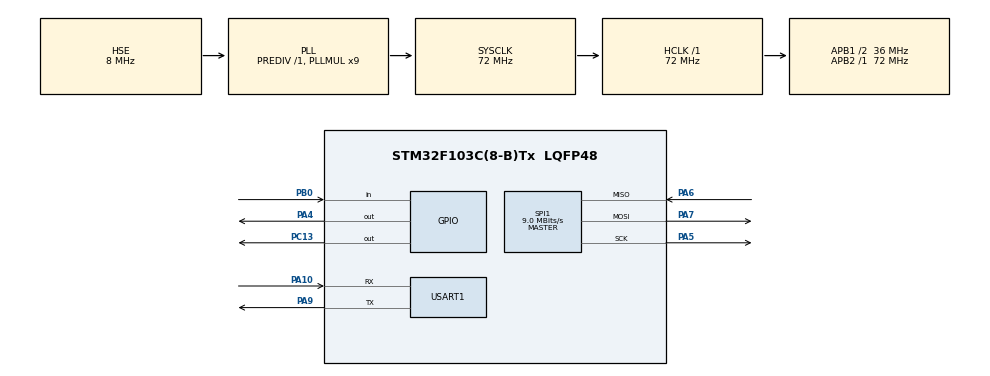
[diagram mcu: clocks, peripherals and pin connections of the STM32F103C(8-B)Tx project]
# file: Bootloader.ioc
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Mcu.Family=STM32F1
Mcu.Name=STM32F103C(8-B)Tx
Mcu.Package=LQFP48
NVIC.PriorityGroup=NVIC_PRIORITYGROUP_4
PA10.Mode=Asynchronous
PA10.Signal=USART1_RX
PA13.Mode=Serial_Wire
PA13.Signal=SYS_JTMS-SWDIO
PA14.Mode=Serial_Wire
PA14.Signal=SYS_JTCK-SWCLK
PA4.PinState=GPIO_PIN_SET
PA4.Signal=GPIO_Output
PA5.Mode=Full_Duplex_Master
PA5.Signal=SPI1_SCK
PA6.Mode=Full_Duplex_Master
PA6.Signal=SPI1_MISO
PA7.Mode=Full_Duplex_Master
PA7.Signal=SPI1_MOSI
PA9.Mode=Asynchronous
PA9.Signal=USART1_TX
PB0.GPIO_PuPd=GPIO_PULLUP
PB0.Signal=GPIO_Input
PC13-TAMPER-RTC.Signal=GPIO_Output
PD0-OSC_IN.Mode=HSE-External-Oscillator
PD0-OSC_IN.Signal=RCC_OSC_IN
PD1-OSC_OUT.Mode=HSE-External-Oscillator
PD1-OSC_OUT.Signal=RCC_OSC_OUT
ProjectManager.HeapSize=0x200
ProjectManager.StackSize=0x400
ProjectManager.TargetToolchain=MDK-ARM V5.32
RCC.AHBFreq_Value=72000000
RCC.APB1CLKDivider=RCC_HCLK_DIV2
RCC.APB1Freq_Value=36000000
RCC.APB1TimFreq_Value=72000000
RCC.APB2Freq_Value=72000000
RCC.APB2TimFreq_Value=72000000
RCC.HCLKFreq_Value=72000000
RCC.PLLMUL=RCC_PLL_MUL9
RCC.PLLSourceVirtual=RCC_PLLSOURCE_HSE
RCC.SYSCLKFreq_VALUE=72000000
RCC.SYSCLKSource=RCC_SYSCLKSOURCE_PLLCLK
RCC.USBFreq_Value=72000000
SPI1.BaudRatePrescaler=SPI_BAUDRATEPRESCALER_8
SPI1.CalculateBaudRate=9.0 MBits/s
SPI1.Direction=SPI_DIRECTION_2LINES
SPI1.Mode=SPI_MODE_MASTER
SPI1.VirtualType=VM_MASTER
USART1.VirtualMode=VM_ASYNC
board=custom

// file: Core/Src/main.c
/* USER CODE BEGIN Header */
/**
  ******************************************************************************
  * @file           : main.c
  * @brief          : Main program body
  ******************************************************************************
  * @attention
  *
  * Copyright (c) 2026 STMicroelectronics.
  * All rights reserved.
  *
  * This software is licensed under terms that can be found in the LICENSE file
  * in the root directory of this software component.
  * If no LICENSE file comes with this software, it is provided AS-IS.
  *
  ******************************************************************************
  */
/* USER CODE END Header */
#include "main.h"
#include "spi.h"
#include "usart.h"
#include "gpio.h"

/* USER CODE BEGIN Includes */
#include <stdio.h>
#include "boot.h"
#include "ota_boot.h"
#include "ota.h"
/* USER CODE END Includes */

void SystemClock_Config(void);

int main(void)
{

  /* MCU Configuration--------------------------------------------------------*/

  /* Reset of all peripherals, Initializes the Flash interface and the Systick. */
  HAL_Init();

  /* Configure the system clock */
  SystemClock_Config();

  /* Initialize all configured peripherals */
  MX_GPIO_Init();
  MX_SPI1_Init();
  MX_USART1_UART_Init();
  /* USER CODE BEGIN 2 */
	printf("\r\n[Boot] Bootloader v1.0 @0x%08lX\r\n", (unsigned long)BOOT_ADDR);

  /* 上电按住 PB0:强制停留 Bootloader(救砖入口) */
  if (HAL_GPIO_ReadPin(GPIOB, GPIO_PIN_0) == GPIO_PIN_RESET) {
    printf("[Boot] Key pressed, stay in bootloader.\r\n");
  } else {
    OTA_Boot();                   /* 升级请求 → 备份+搬运;未确认固件 → 回滚 */
    if (Boot_AppValid(APP_ADDR)) {
      printf("[Boot] Jump to App @0x%08lX ...\r\n", (unsigned long)APP_ADDR);
      HAL_Delay(50);              /* 等串口发完 */
      Boot_JumpToApp(APP_ADDR);   /* 正常情况下不返回 */
      printf("[Boot] Jump failed!\r\n");
    } else {
      printf("[Boot] No valid App found.\r\n");
    }
  }
  /* USER CODE END 2 */

  /* Infinite loop */
  while (1)
  {

    /* USER CODE BEGIN 3 */
	HAL_GPIO_TogglePin(GPIOC, GPIO_PIN_13);
    HAL_Delay(500);
    OTA_FEED_WDG();   /* 停留 Boot(救砖/无 App)时也喂狗,防被 App 启动的 IWDG 复位 */
  }
  /* USER CODE END 3 */
}

void SystemClock_Config(void)
{
  RCC_OscInitTypeDef RCC_OscInitStruct = {0};
  RCC_ClkInitTypeDef RCC_ClkInitStruct = {0};

  /** Initializes the RCC Oscillators according to the specified parameters
  * in the RCC_OscInitTypeDef structure.
  */
  RCC_OscInitStruct.OscillatorType = RCC_OSCILLATORTYPE_HSE;
  RCC_OscInitStruct.HSEState = RCC_HSE_ON;
  RCC_OscInitStruct.HSEPredivValue = RCC_HSE_PREDIV_DIV1;
  RCC_OscInitStruct.HSIState = RCC_HSI_ON;
  RCC_OscInitStruct.PLL.PLLState = RCC_PLL_ON;
  RCC_OscInitStruct.PLL.PLLSource = RCC_PLLSOURCE_HSE;
  RCC_OscInitStruct.PLL.PLLMUL = RCC_PLL_MUL9;
  if (HAL_RCC_OscConfig(&RCC_OscInitStruct) != HAL_OK)
  {
    Error_Handler();
  }

  /** Initializes the CPU, AHB and APB buses clocks
  */
  RCC_ClkInitStruct.ClockType = RCC_CLOCKTYPE_HCLK|RCC_CLOCKTYPE_SYSCLK
                              |RCC_CLOCKTYPE_PCLK1|RCC_CLOCKTYPE_PCLK2;
  RCC_ClkInitStruct.SYSCLKSource = RCC_SYSCLKSOURCE_PLLCLK;
  RCC_ClkInitStruct.AHBCLKDivider = RCC_SYSCLK_DIV1;
  RCC_ClkInitStruct.APB1CLKDivider = RCC_HCLK_DIV2;
  RCC_ClkInitStruct.APB2CLKDivider = RCC_HCLK_DIV1;

  if (HAL_RCC_ClockConfig(&RCC_ClkInitStruct, FLASH_LATENCY_2) != HAL_OK)
  {
    Error_Handler();
  }
}

void Error_Handler(void)
{
  __disable_irq();
  while (1)
  {
  }
}
